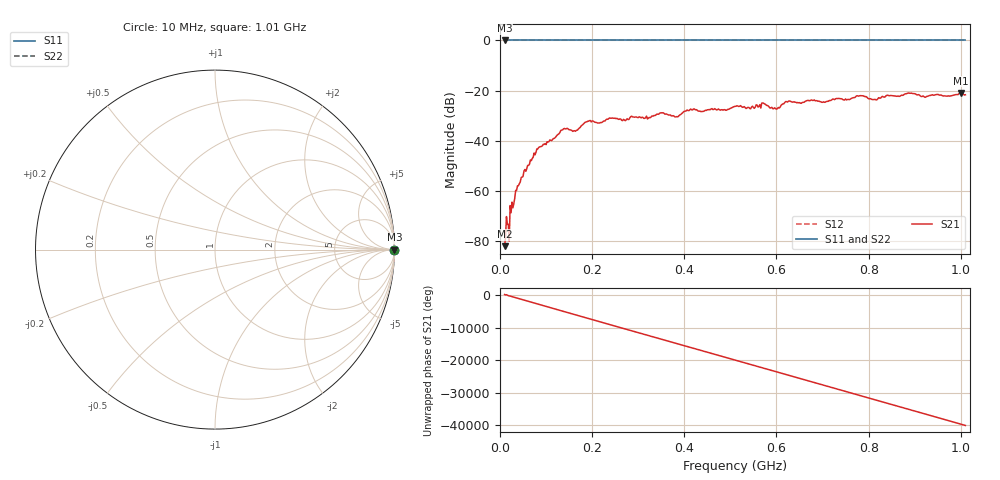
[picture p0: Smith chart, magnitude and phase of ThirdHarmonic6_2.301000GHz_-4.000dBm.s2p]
! 8/17/2025 3:07:24 AM
! C:\ANRITSUVNA\TEMP\TEMP.S2P
! CHANNEL.1
! TR.MEASUREMENT
! RAW.DATA
! RF.CORRECTION.OFF
! AVERAGING.OFF
! IF.BANDWIDTH: 5KHZ
! SWEEPTYPE:  FREQ.SWEEP(Linear)
! Reference Plane Port Info
! PORT:  PORT1  PORT2
! DISTANCE:  0  m  0  m
! TIME:  0  s  0  s
! PHASE.OFFSET:  0  deg.  0  deg.
! LOSS:  0  dB  0  dB
! REF.LOSS:  0  dB  0  dB
! REF.FREQ:  0  Hz  0  Hz
! Power Info
! POWER:  -20  dBm  -20  dBm
! EFF.POWER:  -20  dBm  -20  dBm
! SOURCE.ATTEN:  0  dB  0  dB
! TEST.ATTEN:  0  dB  0  dB
# GHZ S RI R 50.0
! FREQ.GHZ  S11RE  S11IM  S21RE  S21IM  S12RE  S12IM  S22RE  S22IM
!; PortSelection: Port_12
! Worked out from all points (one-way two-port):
!   501 points, 10 MHz to 1.01 GHz, reference 50 ohm
!   highest |S21| = -20.97 dB at 1 GHz (marker M1); lowest = -82.1 dB at 10 MHz (marker M2)
!   lowest |S11| = 0.0 dB at 10 MHz (marker M3)
!   |S11| at or under -10 dB: nowhere
!   |S22| runs from 0.0 to 0.0 dB; largest |S21 - S12| = 1.1
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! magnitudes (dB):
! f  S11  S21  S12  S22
! 10 MHz  0.0  -82.1  0.0  0.0
! 16 MHz  0.0  -73.3  0.0  0.0
! 26 MHz  0.0  -64.5  0.0  0.0
! 38 MHz  0.0  -58.0  0.0  0.0
! 82 MHz  0.0  -43.3  0.0  0.0
! 136 MHz  0.0  -35.7  0.0  0.0
! 162 MHz  0.0  -36.0  0.0  0.0
! 178 MHz  0.0  -33.8  0.0  0.0
! 192 MHz  0.0  -32.2  0.0  0.0
! 344 MHz  0.0  -29.4  0.0  0.0
! 384 MHz  0.0  -30.4  0.0  0.0
! 416 MHz  0.0  -27.7  0.0  0.0
! 510 MHz  0.0  -26.3  0.0  0.0
! 572 MHz  0.0  -25.1  0.0  0.0
! 598 MHz  0.0  -27.2  0.0  0.0
! 624 MHz  0.0  -24.6  0.0  0.0
! 678 MHz  0.0  -23.9  0.0  0.0
! 784 MHz  0.0  -22.1  0.0  0.0
! 814 MHz  0.0  -23.5  0.0  0.0
! 844 MHz  0.0  -22.0  0.0  0.0
! 1 GHz  0.0  -21.0  0.0  0.0
! 1.01 GHz  0.0  -21.7  0.0  0.0
